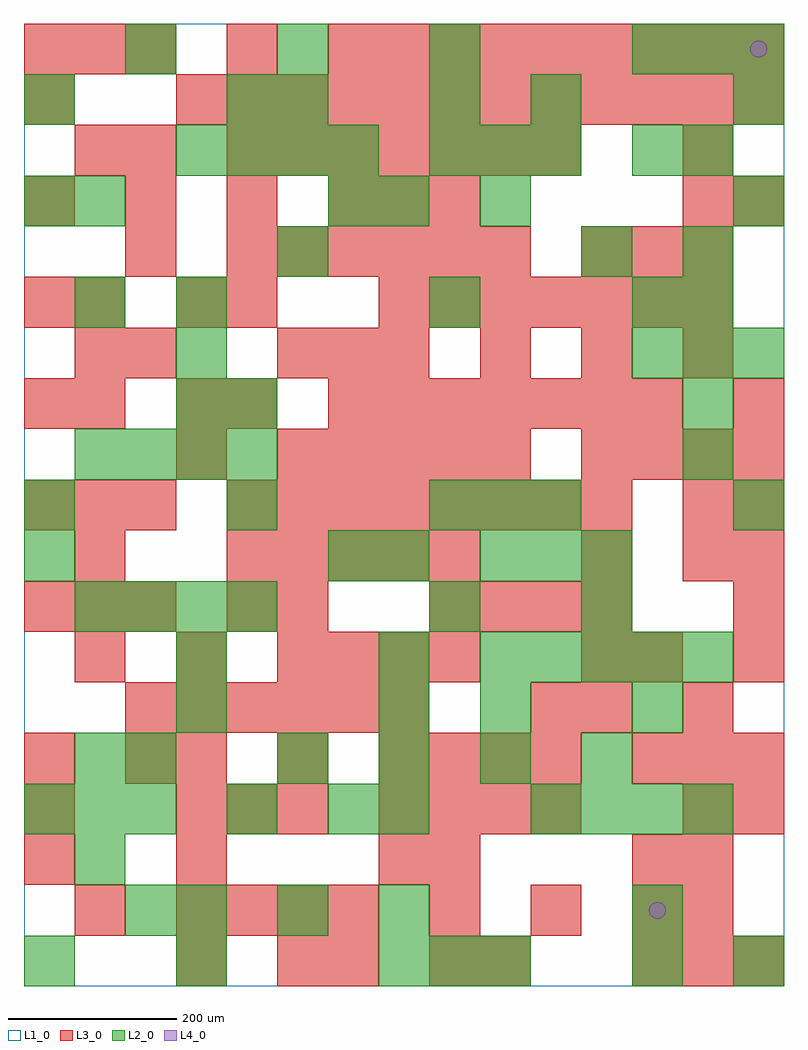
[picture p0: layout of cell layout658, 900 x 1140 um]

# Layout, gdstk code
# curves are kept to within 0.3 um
import gdstk
lib = gdstk.Library(unit=1e-6, precision=1e-09)
def R(c, l, rs):  # rectangles x0, y0, x1, y1
    for r in rs: c.add(gdstk.rectangle(r[:2], r[2:], *l))
def A(c, l, x, y, w, h, nx, ny, dx, dy):  # array of equal rectangles
    R(c, l, [(x+i*dx, y+j*dy, x+i*dx+w, y+j*dy+h) for i in range(nx) for j in range(ny)])
def P(c, l, *ps):  # polygons
    for p in ps: c.add(gdstk.Polygon(p, *l))
L1_0 = (1, 0)
L2_0 = (2, 0)
L3_0 = (3, 0)
L4_0 = (4, 0)

layout658 = lib.new_cell('layout658')
R(layout658, L1_0, [(0,0,900,1140)])
A(layout658, L2_0, 420, 0, 60, 60, 3, 1, 60, 0)
A(layout658, L2_0, 180, 60, 60, 60, 3, 1, 120, 0)
A(layout658, L2_0, 0, 180, 60, 60, 3, 1, 60, 0)
A(layout658, L2_0, 600, 180, 60, 60, 4, 1, 60, 0)
A(layout658, L2_0, 300, 240, 60, 60, 4, 1, 120, 0)
A(layout658, L2_0, 540, 360, 60, 60, 5, 1, 60, 0)
A(layout658, L2_0, 60, 420, 60, 60, 4, 2, 60, 180)
A(layout658, L2_0, 540, 480, 60, 60, 3, 1, 60, 0)
A(layout658, L2_0, 0, 540, 60, 60, 3, 1, 240, 0)
A(layout658, L2_0, 180, 660, 60, 60, 1, 3, 0, 60)
A(layout658, L2_0, 720, 720, 60, 60, 3, 2, 60, 360)
A(layout658, L2_0, 180, 960, 60, 60, 4, 1, 60, 0)
A(layout658, L2_0, 480, 960, 60, 60, 3, 1, 60, 0)
A(layout658, L2_0, 120, 1080, 60, 60, 3, 1, 180, 0)
R(layout658, L2_0, [(0,0,60,60), (180,0,240,60), (720,0,780,60), (840,0,900,60), (120,60,180,120), (720,60,780,120), (60,120,120,180), (240,180,300,240), (360,180,420,240), (420,180,480,240), (60,240,120,300), (120,240,180,300), (180,300,240,360), (420,300,480,360), (540,300,600,360), (720,300,780,360), (180,360,240,420), (420,360,480,420), (480,420,540,480), (660,420,720,480), (0,480,60,540), (360,480,420,540), (420,480,480,540), (540,540,600,600), (600,540,660,600), (840,540,900,600), (780,600,840,660), (240,660,300,720), (780,660,840,720), (60,780,120,840), (480,780,540,840), (720,780,780,840), (780,780,840,840), (300,840,360,900), (660,840,720,900), (780,840,840,900), (0,900,60,960), (60,900,120,960), (360,900,420,960), (420,900,480,960), (540,900,600,960), (840,900,900,960), (720,960,780,1020), (780,960,840,1020), (0,1020,60,1080), (240,1020,300,1080), (300,1020,360,1080), (480,1020,540,1080), (600,1020,660,1080), (840,1020,900,1080)])
A(layout658, L3_0, 720, 0, 60, 60, 3, 2, 60, 240)
A(layout658, L3_0, 180, 60, 60, 60, 4, 1, 60, 0)
A(layout658, L3_0, 480, 60, 60, 60, 3, 1, 120, 0)
A(layout658, L3_0, 780, 60, 60, 60, 1, 3, 0, 60)
A(layout658, L3_0, 0, 120, 60, 60, 1, 3, 0, 60)
A(layout658, L3_0, 180, 180, 60, 60, 3, 1, 60, 0)
A(layout658, L3_0, 420, 180, 60, 60, 4, 1, 60, 0)
A(layout658, L3_0, 180, 240, 60, 60, 3, 1, 120, 0)
A(layout658, L3_0, 480, 240, 60, 60, 3, 1, 60, 0)
A(layout658, L3_0, 120, 300, 60, 60, 6, 1, 60, 0)
A(layout658, L3_0, 60, 360, 60, 60, 3, 1, 120, 0)
A(layout658, L3_0, 360, 360, 60, 60, 3, 1, 60, 0)
A(layout658, L3_0, 840, 360, 60, 60, 1, 4, 0, 60)
A(layout658, L3_0, 0, 420, 60, 60, 3, 2, 60, 120)
A(layout658, L3_0, 480, 420, 60, 60, 4, 1, 60, 0)
A(layout658, L3_0, 240, 480, 60, 60, 5, 1, 60, 0)
A(layout658, L3_0, 240, 540, 60, 60, 8, 1, 60, 0)
A(layout658, L3_0, 300, 600, 60, 60, 5, 1, 60, 0)
A(layout658, L3_0, 660, 600, 60, 60, 4, 1, 60, 0)
A(layout658, L3_0, 60, 660, 60, 60, 1, 3, 0, 60)
A(layout658, L3_0, 360, 660, 60, 60, 7, 1, 60, 0)
A(layout658, L3_0, 120, 720, 60, 60, 1, 3, 0, 120)
A(layout658, L3_0, 300, 720, 60, 60, 3, 1, 60, 0)
A(layout658, L3_0, 540, 720, 60, 60, 3, 1, 120, 0)
A(layout658, L3_0, 420, 780, 60, 60, 7, 1, 60, 0)
A(layout658, L3_0, 240, 840, 60, 60, 6, 1, 60, 0)
A(layout658, L3_0, 660, 840, 60, 60, 3, 1, 60, 0)
A(layout658, L3_0, 0, 900, 60, 60, 4, 1, 120, 0)
A(layout658, L3_0, 240, 960, 60, 60, 7, 1, 60, 0)
A(layout658, L3_0, 180, 1020, 60, 60, 12, 1, 60, 0)
A(layout658, L3_0, 0, 1080, 60, 60, 3, 1, 60, 0)
A(layout658, L3_0, 360, 1080, 60, 60, 9, 1, 60, 0)
R(layout658, L3_0, [(180,0,240,60), (300,0,360,60), (360,0,420,60), (480,0,540,60), (540,0,600,60), (60,60,120,120), (180,120,240,180), (420,120,480,180), (480,120,540,180), (720,120,780,180), (840,180,900,240), (120,240,180,300), (600,300,660,360), (660,300,720,360), (780,300,840,360), (660,360,720,420), (720,360,780,420), (240,420,300,480), (300,420,360,480), (60,480,120,540), (660,480,720,540), (780,480,840,540), (780,540,840,600), (180,600,240,660), (0,660,60,720), (180,660,240,720), (240,660,300,720), (840,660,900,720), (0,780,60,840), (180,780,240,840), (240,780,300,840), (420,900,480,960), (480,900,540,960), (780,900,840,960), (840,900,900,960), (60,960,120,1020), (780,960,840,1020), (0,1020,60,1080), (240,1080,300,1140)])
P(layout658, L4_0, [(760,90),(759.239,93.827),(757.071,97.071),(753.827,99.239),(750,100),(746.173,99.239),(742.929,97.071),(740.761,93.827),(740,90),(740.761,86.173),(742.929,82.929),(746.173,80.761),(750,80),(753.827,80.761),(757.071,82.929),(759.239,86.173)],
  [(880,1110),(879.239,1113.827),(877.071,1117.071),(873.827,1119.239),(870,1120),(866.173,1119.239),(862.929,1117.071),(860.761,1113.827),(860,1110),(860.761,1106.173),(862.929,1102.929),(866.173,1100.761),(870,1100),(873.827,1100.761),(877.071,1102.929),(879.239,1106.173)])

lib.write_gds('layout658.gds')
